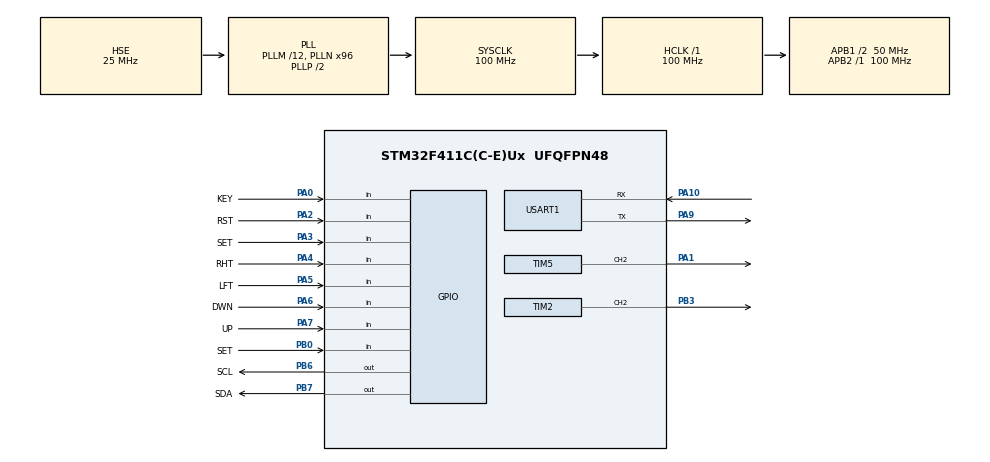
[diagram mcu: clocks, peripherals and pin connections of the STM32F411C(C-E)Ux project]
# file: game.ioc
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Dma.Request0=USART1_RX
Dma.Request1=USART1_TX
Dma.USART1_RX.0.Direction=DMA_PERIPH_TO_MEMORY
Dma.USART1_RX.0.FIFOMode=DMA_FIFOMODE_DISABLE
Dma.USART1_RX.0.Instance=DMA2_Stream2
Dma.USART1_RX.0.MemDataAlignment=DMA_MDATAALIGN_BYTE
Dma.USART1_RX.0.MemInc=DMA_MINC_ENABLE
Dma.USART1_RX.0.Mode=DMA_NORMAL
Dma.USART1_RX.0.PeriphDataAlignment=DMA_PDATAALIGN_BYTE
Dma.USART1_RX.0.PeriphInc=DMA_PINC_DISABLE
Dma.USART1_RX.0.Priority=DMA_PRIORITY_HIGH
Dma.USART1_TX.1.Direction=DMA_MEMORY_TO_PERIPH
Dma.USART1_TX.1.FIFOMode=DMA_FIFOMODE_DISABLE
Dma.USART1_TX.1.Instance=DMA2_Stream7
Dma.USART1_TX.1.MemDataAlignment=DMA_MDATAALIGN_BYTE
Dma.USART1_TX.1.MemInc=DMA_MINC_ENABLE
Dma.USART1_TX.1.Mode=DMA_NORMAL
Dma.USART1_TX.1.PeriphDataAlignment=DMA_PDATAALIGN_BYTE
Dma.USART1_TX.1.PeriphInc=DMA_PINC_DISABLE
Dma.USART1_TX.1.Priority=DMA_PRIORITY_HIGH
Mcu.Family=STM32F4
Mcu.Name=STM32F411C(C-E)Ux
Mcu.Package=UFQFPN48
NVIC.DMA2_Stream2_IRQn=true\:0\:0\:false\:false\:true\:false\:true\:true
NVIC.DMA2_Stream7_IRQn=true\:0\:0\:false\:false\:true\:false\:true\:true
NVIC.PriorityGroup=NVIC_PRIORITYGROUP_4
NVIC.TIM2_IRQn=true\:0\:0\:false\:false\:true\:true\:true\:true
NVIC.TIM3_IRQn=true\:2\:0\:true\:false\:true\:true\:true\:true
NVIC.TIM5_IRQn=true\:0\:0\:false\:false\:true\:true\:true\:true
NVIC.USART1_IRQn=true\:1\:0\:true\:false\:true\:true\:true\:true
PA0-WKUP.GPIO_Label=KEY
PA0-WKUP.GPIO_PuPd=GPIO_PULLUP
PA0-WKUP.Signal=GPIO_Input
PA1.Signal=S_TIM5_CH2
PA10.Mode=Asynchronous
PA10.Signal=USART1_RX
PA13.Mode=Serial_Wire
PA13.Signal=SYS_JTMS-SWDIO
PA14.Mode=Serial_Wire
PA14.Signal=SYS_JTCK-SWCLK
PA2.GPIO_Label=RST
PA2.GPIO_PuPd=GPIO_PULLUP
PA2.Signal=GPIO_Input
PA3.GPIO_Label=SET
PA3.GPIO_PuPd=GPIO_PULLUP
PA3.Signal=GPIO_Input
PA4.GPIO_Label=RHT
PA4.GPIO_PuPd=GPIO_PULLUP
PA4.Signal=GPIO_Input
PA5.GPIO_Label=LFT
PA5.GPIO_PuPd=GPIO_PULLUP
PA5.Signal=GPIO_Input
PA6.GPIO_Label=DWN
PA6.GPIO_PuPd=GPIO_PULLUP
PA6.Signal=GPIO_Input
PA7.GPIO_Label=UP
PA7.GPIO_PuPd=GPIO_PULLUP
PA7.Signal=GPIO_Input
PA9.Mode=Asynchronous
PA9.Signal=USART1_TX
PB0.GPIO_Label=SET
PB0.GPIO_PuPd=GPIO_PULLUP
PB0.Signal=GPIO_Input
PB3.GPIO_Speed=GPIO_SPEED_FREQ_VERY_HIGH
PB3.Signal=S_TIM2_CH2
PB6.GPIO_Label=SCL
PB6.GPIO_Speed=GPIO_SPEED_FREQ_VERY_HIGH
PB6.PinState=GPIO_PIN_SET
PB6.Signal=GPIO_Output
PB7.GPIO_Label=SDA
PB7.GPIO_PuPd=GPIO_PULLUP
PB7.GPIO_Speed=GPIO_SPEED_FREQ_VERY_HIGH
PB7.PinState=GPIO_PIN_SET
PB7.Signal=GPIO_Output
PH0\ -\ OSC_IN.Mode=HSE-External-Oscillator
PH0\ -\ OSC_IN.Signal=RCC_OSC_IN
PH1\ -\ OSC_OUT.Mode=HSE-External-Oscillator
PH1\ -\ OSC_OUT.Signal=RCC_OSC_OUT
ProjectManager.HeapSize=0x200
ProjectManager.StackSize=0x400
ProjectManager.TargetToolchain=MDK-ARM V5.32
RCC.48MHZClocksFreq_Value=50000000
RCC.AHBFreq_Value=100000000
RCC.APB1CLKDivider=RCC_HCLK_DIV2
RCC.APB1Freq_Value=50000000
RCC.APB1TimFreq_Value=100000000
RCC.APB2Freq_Value=100000000
RCC.APB2TimFreq_Value=100000000
RCC.CortexFreq_Value=100000000
RCC.HCLKFreq_Value=100000000
RCC.HSE_VALUE=25000000
RCC.HSI_VALUE=16000000
RCC.LSE_VALUE=32768
RCC.PLLM=12
RCC.PLLN=96
RCC.PLLSourceVirtual=RCC_PLLSOURCE_HSE
RCC.SYSCLKFreq_VALUE=100000000
RCC.SYSCLKSource=RCC_SYSCLKSOURCE_PLLCLK
RCC.VCOOutputFreq_Value=200000000
SH.S_TIM2_CH2.0=TIM2_CH2,PWM Generation2 CH2
SH.S_TIM5_CH2.0=TIM5_CH2,PWM Generation2 CH2
TIM2.AutoReloadPreload=TIM_AUTORELOAD_PRELOAD_DISABLE
TIM2.Channel-PWM\ Generation2\ CH2=TIM_CHANNEL_2
TIM2.OC2Preload_PWM=ENABLE
TIM2.Period=199999
TIM2.Prescaler=9
TIM2.Pulse-PWM\ Generation2\ CH2=5000
TIM3.Period=99
TIM3.Prescaler=9
TIM5.Channel-PWM\ Generation2\ CH2=TIM_CHANNEL_2
TIM5.Period=199999
TIM5.Prescaler=9
TIM5.Pulse-PWM\ Generation2\ CH2=5000
USART1.VirtualMode=VM_ASYNC
VP_TIM3_VS_ClockSourceINT.Mode=Internal
board=custom

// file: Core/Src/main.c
/* USER CODE BEGIN Header */
/**
  ******************************************************************************
  * @file           : main.c
  * @brief          : Main program body
  ******************************************************************************
  * @attention
  *
  * Copyright (c) 2023 STMicroelectronics.
  * All rights reserved.
  *
  * This software is licensed under terms that can be found in the LICENSE file
  * in the root directory of this software component.
  * If no LICENSE file comes with this software, it is provided AS-IS.
  *
  ******************************************************************************
  */
/* USER CODE END Header */
#include "main.h"
#include "dma.h"
#include "tim.h"
#include "usart.h"
#include "gpio.h"

/* USER CODE BEGIN Includes */
#include "oled.h"
#include "servo.h"
#include "stdio.h"
#include "contrl.h"
#include "task.h"
/* USER CODE END Includes */

void SystemClock_Config(void);

int main(void)
{

  /* MCU Configuration--------------------------------------------------------*/

  /* Reset of all peripherals, Initializes the Flash interface and the Systick. */
  HAL_Init();

  /* Configure the system clock */
  SystemClock_Config();

  /* Initialize all configured peripherals */
  MX_GPIO_Init();
  MX_DMA_Init();
  MX_TIM2_Init();
  MX_USART1_UART_Init();
  MX_TIM5_Init();
  MX_TIM3_Init();
  /* USER CODE BEGIN 2 */
	HAL_TIM_Base_Start_IT(&htim3);
	OLED_Init();
	servo_init();
	PIDloca_Init(&locax,10,0,0,200,5000);
	OLED_Display_Buffer(0,0,"OKK");
	servo_set_speed(&servox,1024);
	servo_set_speed(&servoy,1024);
	flag=0;
//	while(flag==0)
//		{
//			init();
//			OLED_Display_Num(0,0,servox.TargeetLocation,5);
//			OLED_Display_Num(2,0,servoy.TargeetLocation,5);
//
//		}
//		while(flag==1)
//		{
//			redLoca_init();

			OLED_Display_Buffer(0,0,"lining");
//		}

  /* USER CODE END 2 */

  /* Infinite loop */
  /* USER CODE BEGIN WHILE */
  while (1)
  {
		rectanglelining();
//		while(flag==1)
//		{
//			redLoca_init();
//			rectanglelining();
//			OLED_Display_Buffer(0,0,"lining");
//		}
//
//

    /* USER CODE END WHILE */

  }
}

void SystemClock_Config(void)
{
  RCC_OscInitTypeDef RCC_OscInitStruct = {0};
  RCC_ClkInitTypeDef RCC_ClkInitStruct = {0};

  /** Configure the main internal regulator output voltage
  */
  __HAL_RCC_PWR_CLK_ENABLE();
  __HAL_PWR_VOLTAGESCALING_CONFIG(PWR_REGULATOR_VOLTAGE_SCALE1);

  /** Initializes the RCC Oscillators according to the specified parameters
  * in the RCC_OscInitTypeDef structure.
  */
  RCC_OscInitStruct.OscillatorType = RCC_OSCILLATORTYPE_HSE;
  RCC_OscInitStruct.HSEState = RCC_HSE_ON;
  RCC_OscInitStruct.PLL.PLLState = RCC_PLL_ON;
  RCC_OscInitStruct.PLL.PLLSource = RCC_PLLSOURCE_HSE;
  RCC_OscInitStruct.PLL.PLLM = 12;
  RCC_OscInitStruct.PLL.PLLN = 96;
  RCC_OscInitStruct.PLL.PLLP = RCC_PLLP_DIV2;
  RCC_OscInitStruct.PLL.PLLQ = 4;
  if (HAL_RCC_OscConfig(&RCC_OscInitStruct) != HAL_OK)
  {
    Error_Handler();
  }

  /** Initializes the CPU, AHB and APB buses clocks
  */
  RCC_ClkInitStruct.ClockType = RCC_CLOCKTYPE_HCLK|RCC_CLOCKTYPE_SYSCLK
                              |RCC_CLOCKTYPE_PCLK1|RCC_CLOCKTYPE_PCLK2;
  RCC_ClkInitStruct.SYSCLKSource = RCC_SYSCLKSOURCE_PLLCLK;
  RCC_ClkInitStruct.AHBCLKDivider = RCC_SYSCLK_DIV1;
  RCC_ClkInitStruct.APB1CLKDivider = RCC_HCLK_DIV2;
  RCC_ClkInitStruct.APB2CLKDivider = RCC_HCLK_DIV1;

  if (HAL_RCC_ClockConfig(&RCC_ClkInitStruct, FLASH_LATENCY_3) != HAL_OK)
  {
    Error_Handler();
  }
}

void Error_Handler(void)
{
  __disable_irq();
  while (1)
  {
  }
}
